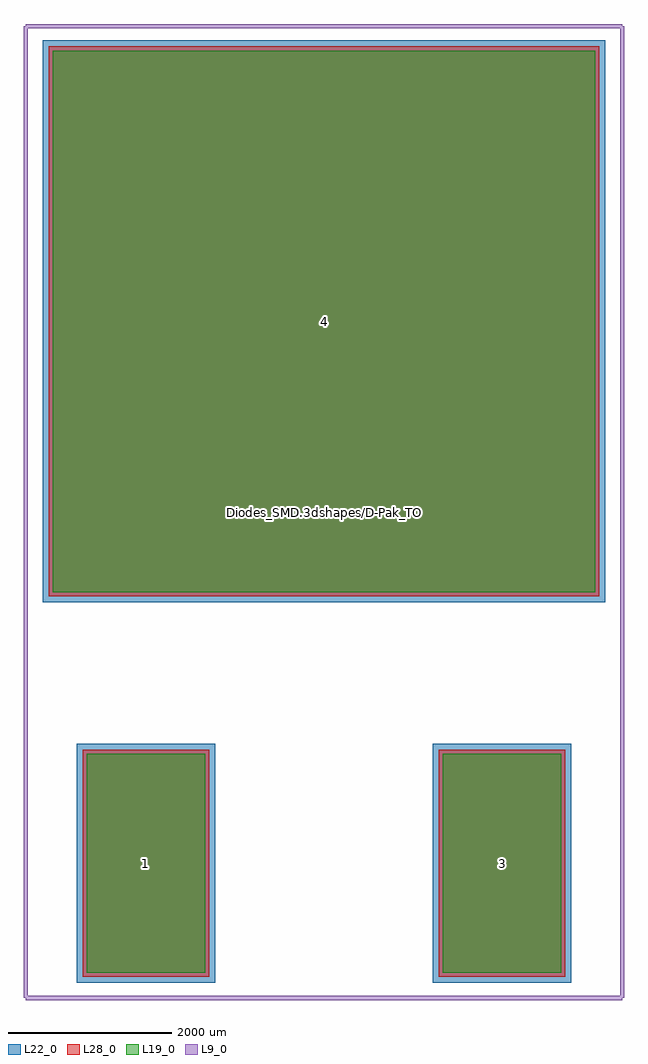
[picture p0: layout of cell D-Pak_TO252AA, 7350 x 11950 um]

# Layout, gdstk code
import gdstk
lib = gdstk.Library(unit=1e-6, precision=1e-09)
def R(c, l, rs):  # rectangles x0, y0, x1, y1
    for r in rs: c.add(gdstk.rectangle(r[:2], r[2:], *l))
L9_0 = (9, 0)
L19_0 = (19, 0)
L22_0 = (22, 0)
L28_0 = (28, 0)

d_pak_to252aa = lib.new_cell('D-Pak_TO252AA')
R(d_pak_to252aa, L19_0, [(-2905,-5640,-1455,-2960), (1455,-5640,2905,-2960), (-3320,-980,3320,5650)])
R(d_pak_to252aa, L22_0, [(-3030,-5765,-1330,-2835), (1330,-5765,3030,-2835), (-3445,-1105,3445,5775)])
R(d_pak_to252aa, L28_0, [(-2955,-5690,-1405,-2910), (1405,-5690,2955,-2910), (-3370,-1030,3370,5700)])
d_pak_to252aa.add(gdstk.FlexPath([(-3650,-5950),(-3650,5950)], 50, ends="flush", simple_path=True, layer=9, datatype=0))  # L9_0
d_pak_to252aa.add(gdstk.FlexPath([(3650,-5950),(-3650,-5950)], 50, ends="flush", simple_path=True, layer=9, datatype=0))  # L9_0
d_pak_to252aa.add(gdstk.FlexPath([(3650,5950),(3650,-5950)], 50, ends="flush", simple_path=True, layer=9, datatype=0))  # L9_0
d_pak_to252aa.add(gdstk.FlexPath([(-3650,5950),(3650,5950)], 50, ends="flush", simple_path=True, layer=9, datatype=0))  # L9_0
d_pak_to252aa.add(gdstk.Label('Diodes_SMD.3dshapes/D-Pak_TO252AA.wrl', (0,0), layer=12, texttype=0))
d_pak_to252aa.add(gdstk.Label('1', (-2180,-4300), layer=28, texttype=0))
d_pak_to252aa.add(gdstk.Label('4', (0,2335), layer=28, texttype=0))
d_pak_to252aa.add(gdstk.Label('3', (2180,-4300), layer=28, texttype=0))
d_pak_to252aa.add(gdstk.Label('type', (0,-8100), layer=9, texttype=0))
d_pak_to252aa.add(gdstk.Label('devicename', (0,7500), layer=9, texttype=0))

lib.write_gds('D-Pak_TO252AA.gds')
